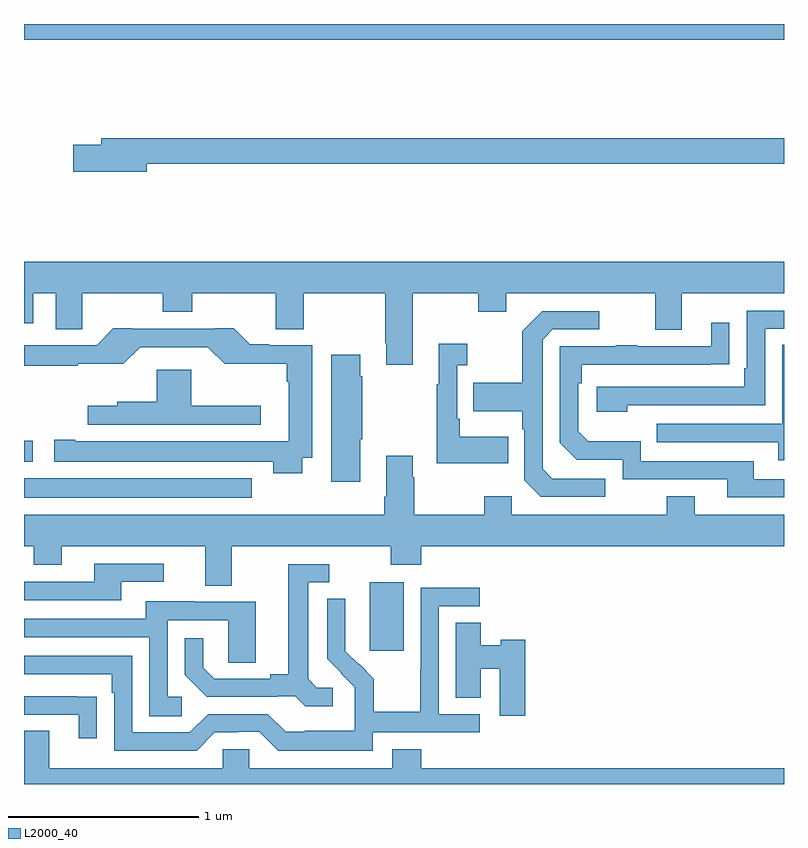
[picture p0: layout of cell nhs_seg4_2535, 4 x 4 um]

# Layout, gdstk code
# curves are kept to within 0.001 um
import gdstk
lib = gdstk.Library(unit=1e-6, precision=1e-09)
def R(c, l, rs):  # rectangles x0, y0, x1, y1
    for r in rs: c.add(gdstk.rectangle(r[:2], r[2:], *l))
def P(c, l, *ps):  # polygons
    for p in ps: c.add(gdstk.Polygon(p, *l))
L2000_40 = (2000, 40)

nhs_seg4_2535 = lib.new_cell('nhs_seg4_2535')
R(nhs_seg4_2535, L2000_40, [(244.82,797.601,244.999,797.962), (243,798.407,244.198,798.508), (243,798.596,243.046,798.707), (243,800.816,247,800.9)])
P(nhs_seg4_2535, L2000_40, [(243.646,800.164),(247,800.164),(247,800.3),(243.407,800.3),(243.407,800.264),(243.258,800.264),(243.258,800.122),(243.646,800.122)],
  [(245.047,799.484),(245.392,799.484),(245.392,799.385),(245.539,799.385),(245.539,799.484),(246.323,799.484),(246.323,799.29),(246.463,799.29),(246.463,799.484),(247,799.484),(247,799.648),(243,799.648),(243,799.326),(243.049,799.326),(243.049,799.484),(243.167,799.484),(243.167,799.294),(243.307,799.294),(243.307,799.484),(243.73,799.484),(243.73,799.385),(243.885,799.385),(243.885,799.484),(244.325,799.484),(244.325,799.294),(244.473,799.294),(244.473,799.484),(244.9,799.484),(244.9,799.219),(244.907,799.219),(244.907,799.107),(245.047,799.107)],
  [(246.176,798.894),(246.9,798.894),(246.9,799.296),(247,799.296),(247,799.392),(246.804,799.392),(246.804,799.087),(246.791,799.087),(246.791,798.99),(246.015,798.99),(246.015,798.86),(246.176,798.86)],
  [(246.058,798.507),(245.781,798.507),(245.73,798.558),(245.73,799.239),(245.784,799.293),(246.028,799.293),(246.028,799.389),(245.727,799.389),(245.622,799.283),(245.622,799.011),(245.365,799.011),(245.365,798.863),(245.622,798.863),(245.622,798.767),(245.634,798.767),(245.634,798.498),(245.721,798.411),(246.058,798.411)],
  [(247,798.504),(246.841,798.504),(246.841,798.6),(246.246,798.6),(246.246,798.703),(245.969,798.703),(245.916,798.756),(245.916,799.01),(245.936,799.01),(245.936,799.107),(246.713,799.108),(246.713,799.327),(246.617,799.327),(246.617,799.203),(246.227,799.203),(246.227,799.208),(246.115,799.208),(246.115,799.203),(245.82,799.203),(245.82,798.696),(245.91,798.606),(246.15,798.606),(246.15,798.504),(246.701,798.504),(246.701,798.408),(247,798.408)],
  [(244.465,798.617),(244.516,798.617),(244.516,799.209),(244.291,799.209),(244.291,799.214),(244.187,799.214),(244.104,799.298),(244.004,799.298),(244.004,799.296),(243.571,799.296),(243.571,799.298),(243.471,799.298),(243.383,799.209),(243,799.209),(243,799.101),(243.284,799.101),(243.284,799.112),(243.523,799.112),(243.612,799.2),(243.968,799.2),(244.057,799.111),(244.382,799.111),(244.382,799.016),(244.394,799.016),(244.394,798.703),(243.271,798.703),(243.271,798.711),(243.159,798.711),(243.159,798.596),(244.313,798.596),(244.313,798.536),(244.465,798.536)],
  [(245.549,798.727),(245.293,798.727),(245.293,798.823),(245.28,798.823),(245.28,799.103),(245.332,799.103),(245.332,799.216),(245.183,799.216),(245.183,799.003),(245.172,799.003),(245.172,798.587),(245.549,798.587)],
  [(247,799.211),(246.99,799.211),(246.99,798.795),(246.331,798.795),(246.331,798.699),(246.971,798.699),(246.971,798.605),(247,798.605)],
  [(244.771,798.715),(244.779,798.715),(244.779,799.046),(244.771,799.046),(244.771,799.159),(244.616,799.159),(244.616,798.492),(244.771,798.492)],
  [(244.246,798.891),(243.881,798.891),(243.881,799.081),(243.698,799.081),(243.698,798.913),(243.492,798.913),(243.492,798.891),(243.336,798.891),(243.336,798.792),(244.246,798.792)],
  [(244.093,798.152),(244.93,798.152),(244.93,798.053),(245.09,798.053),(245.09,798.152),(247,798.152),(247,798.316),(246.529,798.316),(246.529,798.415),(246.382,798.415),(246.382,798.316),(245.568,798.316),(245.568,798.415),(245.422,798.415),(245.422,798.316),(245.055,798.316),(245.055,798.515),(245.047,798.515),(245.047,798.628),(244.907,798.628),(244.907,798.412),(244.895,798.412),(244.895,798.316),(243,798.316),(243,798.152),(243.052,798.152),(243.052,798.053),(243.199,798.053),(243.199,798.152),(243.953,798.152),(243.953,797.944),(244.093,797.944)],
  [(243.511,797.964),(243.736,797.964),(243.736,798.06),(243.371,798.06),(243.371,797.964),(243,797.964),(243,797.868),(243.511,797.868)],
  [(244.624,797.406),(244.542,797.406),(244.495,797.453),(244.495,797.961),(244.606,797.961),(244.606,798.057),(244.391,798.057),(244.391,797.477),(244.295,797.477),(244.295,797.454),(244,797.454),(243.943,797.511),(243.943,797.668),(243.846,797.668),(243.846,797.474),(243.962,797.358),(244.334,797.358),(244.334,797.361),(244.428,797.361),(244.48,797.309),(244.624,797.309)],
  [(244.836,797.172),(245.398,797.172),(245.398,797.268),(245.184,797.268),(245.184,797.835),(245.398,797.835),(245.398,797.934),(245.088,797.934),(245.088,797.504),(245.086,797.504),(245.086,797.281),(244.841,797.281),(244.841,797.455),(244.764,797.532),(244.761,797.529),(244.691,797.6),(244.692,797.876),(244.596,797.876),(244.596,797.558),(244.742,797.41),(244.742,797.313),(244.74,797.313),(244.74,797.179),(244.477,797.179),(244.477,797.175),(244.377,797.175),(244.284,797.268),(243.969,797.268),(243.873,797.172),(243.57,797.172),(243.57,797.574),(243,797.574),(243,797.478),(243.461,797.478),(243.461,797.381),(243.474,797.381),(243.474,797.076),(243.909,797.076),(244.005,797.172),(244.124,797.172),(244.124,797.175),(244.239,797.175),(244.339,797.075),(244.836,797.075)],
  [(243.829,797.358),(243.756,797.358),(243.756,797.763),(244.074,797.763),(244.074,797.539),(244.219,797.539),(244.219,797.859),(243.895,797.859),(243.895,797.863),(243.641,797.863),(243.641,797.769),(243.001,797.769),(243.001,797.673),(243.66,797.673),(243.66,797.257),(243.829,797.257)],
  [(245.639,797.66),(245.508,797.66),(245.508,797.629),(245.404,797.629),(245.404,797.75),(245.273,797.75),(245.273,797.353),(245.404,797.353),(245.404,797.507),(245.504,797.507),(245.504,797.259),(245.639,797.259)],
  [(243.383,797.36),(243.281,797.36),(243.281,797.361),(243,797.361),(243,797.265),(243.287,797.265),(243.287,797.142),(243.383,797.142)],
  [(247,796.984),(245.09,796.984),(245.09,797.083),(244.937,797.083),(244.937,796.984),(244.185,796.984),(244.185,797.082),(244.047,797.082),(244.047,796.984),(243.133,796.984),(243.133,797.179),(243,797.179),(243,796.9),(247,796.9)])

lib.write_gds('nhs_seg4_2535.gds')
